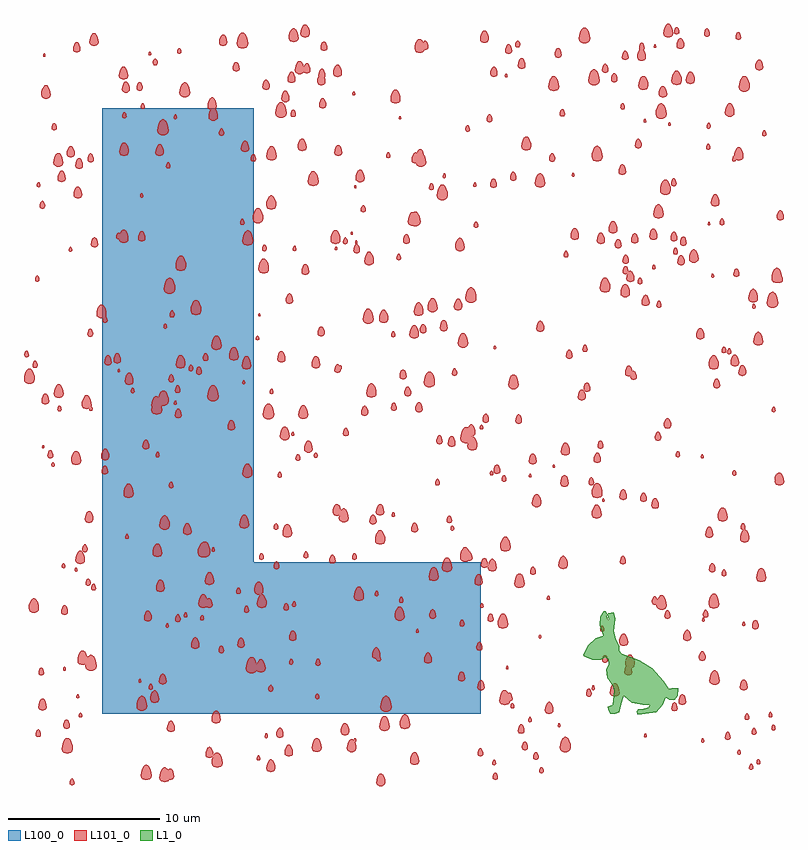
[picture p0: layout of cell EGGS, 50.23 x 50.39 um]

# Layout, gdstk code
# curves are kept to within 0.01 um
from math import pi, radians
import gdstk
lib = gdstk.Library(unit=1e-6, precision=1e-09)
def P(c, l, *ps):  # polygons
    for p in ps: c.add(gdstk.Polygon(p, *l))
L1_0 = (1, 0)
L100_0 = (100, 0)
L101_0 = (101, 0)

egg = lib.new_cell('EGG')
P(egg, L101_0, [(0,-0.2),(-0.11,-0.19),(-0.25,-0.14),(-0.35,-0.03),(-0.38,0.11),(-0.36,0.34),(-0.28,0.6),(-0.19,0.76),(-0.09,0.85),(-0.04,0.86),(0.09,0.85),(0.19,0.76),(0.28,0.6),(0.36,0.34),(0.38,0.11),(0.35,-0.03),(0.25,-0.14),(0.11,-0.19)])

bunny = lib.new_cell('BUNNY')
P(bunny, L1_0, [(-0.22,-0.01),(-0.54,0.03),(-0.68,0.19),(-0.75,0.36),(-0.82,0.302),(-0.94,0.31),(-1.01,0.39),(-1.02,0.56),(-0.81,0.55),(-0.7,0.71),(-0.45,1),(-0.16,1.17),(0.22,1.32),(0.28,1.39),(0.28,1.5),(0.35,1.65),(0.4,1.81),(0.36,2.09),(0.4,2.23),(0.52,2.21),(0.55,2.14),(0.5,2.01),(0.52,2.13),(0.57,2.25),(0.62,2.25),(0.7,2.13),(0.71,1.95),(0.63,1.71),(0.8,1.66),(0.97,1.5),(1.07,1.3),(1.06,1.26),(0.87,1.19),(0.69,1.19),(0.59,1.247),(0.52,1.2),(0.51,1.09),(0.561,0.98),(0.54,0.79),(0.41,0.6),(0.39,0.5),(0.42,0.2),(0.53,0.15),(0.52,0.08),(0.48,0),(0.36,0),(0.28,0.03),(0.18,0.39),(0,0.24),(-0.24,0.2),(-0.39,0.2),(-0.37,0.14),(-0.23,0.1),(-0.14,0.1),(-0.11,0.05),(-0.12,-0.01)])

eggs = lib.new_cell('EGGS')
P(eggs, L100_0, [(5,5),(5,45),(15,45),(15,15),(30,15),(30,5)])
eggs.add(gdstk.Reference(egg, (8.557,25.3), magnification=0.803656))
eggs.add(gdstk.Reference(egg, (3.967,25.3), magnification=0.855776))
eggs.add(gdstk.Reference(egg, (24.272,25.126), magnification=0.500635))
eggs.add(gdstk.Reference(egg, (15.992,24.642), magnification=0.983728))
eggs.add(gdstk.Reference(egg, (25.932,25.035), magnification=0.643315))
eggs.add(gdstk.Reference(egg, (9.039,25.532), magnification=0.953622))
eggs.add(gdstk.Reference(egg, (8.601,24.954), magnification=0.960466))
eggs.add(gdstk.Reference(egg, (25.103,36.172), magnification=0.597115))
eggs.add(gdstk.Reference(egg, (24.879,27.218), magnification=0.609921))
eggs.add(gdstk.Reference(egg, (25.002,4.163), magnification=0.91336))
eggs.add(gdstk.Reference(egg, (24.655,11.312), magnification=0.877739))
eggs.add(gdstk.Reference(egg, (41.76,37.894), magnification=0.879936))
eggs.add(gdstk.Reference(egg, (37.496,46.724), magnification=0.987193))
eggs.add(gdstk.Reference(egg, (25.695,37.393), magnification=0.903001))
eggs.add(gdstk.Reference(egg, (25.511,37.412), magnification=0.846944))
eggs.add(gdstk.Reference(egg, (49.815,37.723), magnification=0.620533))
eggs.add(gdstk.Reference(egg, (37.706,41.687), magnification=0.965078))
eggs.add(gdstk.Reference(egg, (40.867,44.107), magnification=0.233672))
eggs.add(gdstk.Reference(egg, (40.659,48.927), magnification=0.48673))
eggs.add(gdstk.Reference(egg, (46.466,44.621), magnification=0.831018))
eggs.add(gdstk.Reference(egg, (39.393,45.005), magnification=0.391527))
eggs.add(gdstk.Reference(egg, (41.531,49.038), magnification=0.224346))
eggs.add(gdstk.Reference(egg, (42.48,43.897), magnification=0.222827))
eggs.add(gdstk.Reference(egg, (47.065,41.716), magnification=0.826704))
eggs.add(gdstk.Reference(egg, (42.959,46.72), magnification=0.900498))
eggs.add(gdstk.Reference(egg, (42.222,39.477), magnification=0.937625))
eggs.add(gdstk.Reference(egg, (40.424,42.467), magnification=0.597273))
eggs.add(gdstk.Reference(egg, (45.511,38.685), magnification=0.737905))
eggs.add(gdstk.Reference(egg, (42.051,45.858), magnification=0.719706))
eggs.add(gdstk.Reference(egg, (45.043,42.352), magnification=0.366893))
eggs.add(gdstk.Reference(egg, (48.419,47.636), magnification=0.688754))
eggs.add(gdstk.Reference(egg, (38.834,46.846), magnification=0.553106))
eggs.add(gdstk.Reference(egg, (46.746,41.554), magnification=0.330409))
eggs.add(gdstk.Reference(egg, (41.933,44.508), magnification=0.958556))
eggs.add(gdstk.Reference(egg, (48.754,43.234), magnification=0.390954))
eggs.add(gdstk.Reference(egg, (47.433,46.296), magnification=0.972457))
eggs.add(gdstk.Reference(egg, (38.238,47.459), magnification=0.557754))
eggs.add(gdstk.Reference(egg, (40.763,46.393), magnification=0.857804))
eggs.add(gdstk.Reference(egg, (47.04,49.625), magnification=0.479842))
eggs.add(gdstk.Reference(egg, (39.369,40.736), magnification=0.648825))
eggs.add(gdstk.Reference(egg, (40.646,48.304), magnification=0.756028))
eggs.add(gdstk.Reference(egg, (42.775,39.958), magnification=0.485918))
eggs.add(gdstk.Reference(egg, (39.56,48.314), magnification=0.577475))
eggs.add(gdstk.Reference(egg, (43.867,46.761), magnification=0.77437))
eggs.add(gdstk.Reference(egg, (42.408,49.868), magnification=0.83842))
eggs.add(gdstk.Reference(egg, (45.072,43.732), magnification=0.356374))
eggs.add(gdstk.Reference(egg, (44.966,49.838), magnification=0.515257))
eggs.add(gdstk.Reference(egg, (42.963,49.984), magnification=0.450648))
eggs.add(gdstk.Reference(egg, (43.211,49.068), magnification=0.6715))
eggs.add(gdstk.Reference(egg, (34.838,46.332), magnification=0.918333))
eggs.add(gdstk.Reference(egg, (35.413,44.559), magnification=0.461488))
eggs.add(gdstk.Reference(egg, (34.737,41.572), magnification=0.526732))
eggs.add(gdstk.Reference(egg, (35.133,48.47), magnification=0.602447))
eggs.add(gdstk.Reference(egg, (30.594,44.183), magnification=0.499595))
eggs.add(gdstk.Reference(egg, (26.055,41.321), magnification=0.90441))
eggs.add(gdstk.Reference(egg, (31.699,47.105), magnification=0.22813))
eggs.add(gdstk.Reference(egg, (27.473,39.119), magnification=0.972821))
eggs.add(gdstk.Reference(egg, (30.261,49.483), magnification=0.7537))
eggs.add(gdstk.Reference(egg, (26.342,48.987), magnification=0.552319))
eggs.add(gdstk.Reference(egg, (25.973,48.847), magnification=0.859568))
eggs.add(gdstk.Reference(egg, (31.855,48.725), magnification=0.594764))
eggs.add(gdstk.Reference(egg, (26.004,41.698), magnification=0.705861))
eggs.add(gdstk.Reference(egg, (30.856,39.865), magnification=0.578694))
eggs.add(gdstk.Reference(egg, (27.607,40.453), magnification=0.287458))
eggs.add(gdstk.Reference(egg, (29.15,43.53), magnification=0.407969))
eggs.add(gdstk.Reference(egg, (32.16,40.323), magnification=0.558544))
eggs.add(gdstk.Reference(egg, (32.458,49.117), magnification=0.423588))
eggs.add(gdstk.Reference(egg, (29.628,39.863), magnification=0.287193))
eggs.add(gdstk.Reference(egg, (26.753,39.687), magnification=0.422841))
eggs.add(gdstk.Reference(egg, (25.703,41.5), magnification=0.684105))
eggs.add(gdstk.Reference(egg, (32.716,47.746), magnification=0.658823))
eggs.add(gdstk.Reference(egg, (30.883,47.214), magnification=0.625606))
eggs.add(gdstk.Reference(egg, (33.028,42.394), magnification=0.855742))
eggs.add(gdstk.Reference(egg, (33.933,39.944), magnification=0.884893))
eggs.add(gdstk.Reference(egg, (36.119,40.541), magnification=0.244409))
eggs.add(gdstk.Reference(egg, (36.872,49.504), magnification=0.965112))
eggs.add(gdstk.Reference(egg, (37.035,26.376), magnification=0.58728))
eggs.add(gdstk.Reference(egg, (36.902,28.993), magnification=0.448429))
eggs.add(gdstk.Reference(egg, (35.652,35.231), magnification=0.40712))
eggs.add(gdstk.Reference(egg, (28.518,31.801), magnification=0.719456))
eggs.add(gdstk.Reference(egg, (30.941,29.132), magnification=0.225659))
eggs.add(gdstk.Reference(egg, (32.178,26.622), magnification=0.909688))
eggs.add(gdstk.Reference(egg, (25.189,26.084), magnification=0.607852))
eggs.add(gdstk.Reference(egg, (26.618,26.759), magnification=0.979761))
eggs.add(gdstk.Reference(egg, (25.616,29.954), magnification=0.822873))
eggs.add(gdstk.Reference(egg, (27.572,30.411), magnification=0.678135))
eggs.add(gdstk.Reference(egg, (26.203,30.243), magnification=0.577049))
eggs.add(gdstk.Reference(egg, (29.702,37.188), magnification=0.389889))
eggs.add(gdstk.Reference(egg, (29.369,32.346), magnification=0.957899))
eggs.add(gdstk.Reference(egg, (28.844,29.363), magnification=0.896435))
eggs.add(gdstk.Reference(egg, (33.948,30.36), magnification=0.69164))
eggs.add(gdstk.Reference(egg, (25.905,31.455), magnification=0.837801))
eggs.add(gdstk.Reference(egg, (28.636,35.731), magnification=0.822659))
eggs.add(gdstk.Reference(egg, (26.827,31.705), magnification=0.869572))
eggs.add(gdstk.Reference(egg, (28.281,27.423), magnification=0.463744))
eggs.add(gdstk.Reference(egg, (36.693,25.828), magnification=0.680035))
eggs.add(gdstk.Reference(egg, (35.863,28.554), magnification=0.583922))
eggs.add(gdstk.Reference(egg, (36.229,36.461), magnification=0.730377))
eggs.add(gdstk.Reference(egg, (43.405,36.036), magnification=0.576824))
eggs.add(gdstk.Reference(egg, (37.958,36.175), magnification=0.700188))
eggs.add(gdstk.Reference(egg, (45.346,33.865), magnification=0.25449))
eggs.add(gdstk.Reference(egg, (45.097,37.319), magnification=0.201626))
eggs.add(gdstk.Reference(egg, (41.453,34.418), magnification=0.298164))
eggs.add(gdstk.Reference(egg, (40.96,32.049), magnification=0.211219))
eggs.add(gdstk.Reference(egg, (49.587,33.653), magnification=0.929153))
eggs.add(gdstk.Reference(egg, (45.959,37.367), magnification=0.414538))
eggs.add(gdstk.Reference(egg, (48.065,31.819), magnification=0.306605))
eggs.add(gdstk.Reference(egg, (39.905,33.662), magnification=0.692313))
eggs.add(gdstk.Reference(egg, (49.304,32.023), magnification=0.984963))
eggs.add(gdstk.Reference(egg, (45.412,27.928), magnification=0.87935))
eggs.add(gdstk.Reference(egg, (44.524,29.864), magnification=0.70921))
eggs.add(gdstk.Reference(egg, (42.783,36.343), magnification=0.585601))
eggs.add(gdstk.Reference(egg, (39.567,32.687), magnification=0.819378))
eggs.add(gdstk.Reference(egg, (42.889,35.427), magnification=0.418628))
eggs.add(gdstk.Reference(egg, (46.911,33.969), magnification=0.512906))
eggs.add(gdstk.Reference(egg, (39.098,35.86), magnification=0.587542))
eggs.add(gdstk.Reference(egg, (38.754,36.898), magnification=0.763716))
eggs.add(gdstk.Reference(egg, (44.094,34.965), magnification=0.830468))
eggs.add(gdstk.Reference(egg, (39.801,27.429), magnification=0.643873))
eggs.add(gdstk.Reference(egg, (43.255,34.747), magnification=0.63481))
eggs.add(gdstk.Reference(egg, (41.422,36.459), magnification=0.700745))
eggs.add(gdstk.Reference(egg, (40.19,36.198), magnification=0.622227))
eggs.add(gdstk.Reference(egg, (38.229,33.02), magnification=0.92325))
eggs.add(gdstk.Reference(egg, (40.908,32.082), magnification=0.684671))
eggs.add(gdstk.Reference(egg, (48.36,29.499), magnification=0.847418))
eggs.add(gdstk.Reference(egg, (40.115,27.171), magnification=0.552186))
eggs.add(gdstk.Reference(egg, (46.809,28.101), magnification=0.73466))
eggs.add(gdstk.Reference(egg, (40.54,33.468), magnification=0.407609))
eggs.add(gdstk.Reference(egg, (39.593,34.842), magnification=0.556826))
eggs.add(gdstk.Reference(egg, (39.589,34.141), magnification=0.505253))
eggs.add(gdstk.Reference(egg, (46.43,28.825), magnification=0.380234))
eggs.add(gdstk.Reference(egg, (48.022,32.35), magnification=0.831397))
eggs.add(gdstk.Reference(egg, (47.305,27.442), magnification=0.67484))
eggs.add(gdstk.Reference(egg, (49.762,33.59), magnification=0.575251))
eggs.add(gdstk.Reference(egg, (41.791,31.914), magnification=0.443401))
eggs.add(gdstk.Reference(egg, (46.086,28.911), magnification=0.404443))
eggs.add(gdstk.Reference(egg, (45.608,26.619), magnification=0.596848))
eggs.add(gdstk.Reference(egg, (15.289,37.596), magnification=0.930551))
eggs.add(gdstk.Reference(egg, (12.336,44.347), magnification=0.808832))
eggs.add(gdstk.Reference(egg, (12.262,45.043), magnification=0.789682))
eggs.add(gdstk.Reference(egg, (12.316,25.844), magnification=0.992759))
eggs.add(gdstk.Reference(egg, (12.545,29.203), magnification=0.897723))
eggs.add(gdstk.Reference(egg, (21.625,45.907), magnification=0.246132))
eggs.add(gdstk.Reference(egg, (16.169,38.489), magnification=0.877767))
eggs.add(gdstk.Reference(egg, (14.434,42.261), magnification=0.701113))
eggs.add(gdstk.Reference(egg, (14.269,49.155), magnification=0.977765))
eggs.add(gdstk.Reference(egg, (14.989,41.584), magnification=0.464209))
eggs.add(gdstk.Reference(egg, (13.848,47.555), magnification=0.592752))
eggs.add(gdstk.Reference(egg, (12.985,49.286), magnification=0.689763))
eggs.add(gdstk.Reference(egg, (12.879,43.274), magnification=0.46451))
eggs.add(gdstk.Reference(egg, (24.379,45.498), magnification=0.864535))
eggs.add(gdstk.Reference(egg, (15.828,46.354), magnification=0.636473))
eggs.add(gdstk.Reference(egg, (17.645,49.554), magnification=0.853623))
eggs.add(gdstk.Reference(egg, (20.598,41.992), magnification=0.672513))
eggs.add(gdstk.Reference(egg, (18.521,47.441), magnification=0.623336))
eggs.add(gdstk.Reference(egg, (16.814,44.571), magnification=0.98964))
eggs.add(gdstk.Reference(egg, (16.188,41.741), magnification=0.885081))
eggs.add(gdstk.Reference(egg, (17.102,45.557), magnification=0.710383))
eggs.add(gdstk.Reference(egg, (19.513,47.102), magnification=0.604477))
eggs.add(gdstk.Reference(egg, (18.942,40.055), magnification=0.928823))
eggs.add(gdstk.Reference(egg, (22.249,38.216), magnification=0.436896))
eggs.add(gdstk.Reference(egg, (18.405,49.847), magnification=0.809035))
eggs.add(gdstk.Reference(egg, (19.568,45.142), magnification=0.611092))
eggs.add(gdstk.Reference(egg, (19.653,48.913), magnification=0.590585))
eggs.add(gdstk.Reference(egg, (19.475,46.675), magnification=0.70412))
eggs.add(gdstk.Reference(egg, (18.209,42.336), magnification=0.779017))
eggs.add(gdstk.Reference(egg, (24.679,44.314), magnification=0.201659))
eggs.add(gdstk.Reference(egg, (17.621,44.527), magnification=0.461509))
eggs.add(gdstk.Reference(egg, (21.724,39.75), magnification=0.20458))
eggs.add(gdstk.Reference(egg, (18.04,47.42), magnification=0.807718))
eggs.add(gdstk.Reference(egg, (22.043,40.281), magnification=0.78357))
eggs.add(gdstk.Reference(egg, (20.552,47.221), magnification=0.763799))
eggs.add(gdstk.Reference(egg, (17.507,46.824), magnification=0.692687))
eggs.add(gdstk.Reference(egg, (23.904,41.789), magnification=0.349459))
eggs.add(gdstk.Reference(egg, (3.385,39.202), magnification=0.738897))
eggs.add(gdstk.Reference(egg, (1.275,45.811), magnification=0.831491))
eggs.add(gdstk.Reference(egg, (2.915,41.894), magnification=0.692792))
eggs.add(gdstk.Reference(egg, (7.601,39.158), magnification=0.281965))
eggs.add(gdstk.Reference(egg, (7.683,45.039), magnification=0.363342))
eggs.add(gdstk.Reference(egg, (6.461,44.42), magnification=0.383776))
eggs.add(gdstk.Reference(egg, (7.467,46.27), magnification=0.539015))
eggs.add(gdstk.Reference(egg, (6.561,46.18), magnification=0.682988))
eggs.add(gdstk.Reference(egg, (8.789,42.001), magnification=0.729273))
eggs.add(gdstk.Reference(egg, (2.313,40.274), magnification=0.702128))
eggs.add(gdstk.Reference(egg, (4.452,49.283), magnification=0.789957))
eggs.add(gdstk.Reference(egg, (4.232,41.548), magnification=0.549308))
eggs.add(gdstk.Reference(egg, (8.5,47.926), magnification=0.419593))
eggs.add(gdstk.Reference(egg, (3.471,41.143), magnification=0.661175))
eggs.add(gdstk.Reference(egg, (10.084,48.692), magnification=0.345563))
eggs.add(gdstk.Reference(egg, (6.439,42.031), magnification=0.83112))
eggs.add(gdstk.Reference(egg, (6.406,47.065), magnification=0.79407))
eggs.add(gdstk.Reference(egg, (0.792,39.854), magnification=0.32256))
eggs.add(gdstk.Reference(egg, (9.016,43.422), magnification=0.992221))
eggs.add(gdstk.Reference(egg, (9.829,44.347), magnification=0.291561))
eggs.add(gdstk.Reference(egg, (3.314,48.832), magnification=0.629655))
eggs.add(gdstk.Reference(egg, (1.044,38.469), magnification=0.477359))
eggs.add(gdstk.Reference(egg, (1.167,48.457), magnification=0.209341))
eggs.add(gdstk.Reference(egg, (2.096,41.314), magnification=0.851023))
eggs.add(gdstk.Reference(egg, (8.139,48.556), magnification=0.232895))
eggs.add(gdstk.Reference(egg, (10.453,45.923), magnification=0.919797))
eggs.add(gdstk.Reference(egg, (1.823,43.649), magnification=0.443454))
eggs.add(gdstk.Reference(egg, (9.352,41.114), magnification=0.383971))
eggs.add(gdstk.Reference(egg, (11.827,28.405), magnification=0.484885))
eggs.add(gdstk.Reference(egg, (4.488,35.941), magnification=0.616001))
eggs.add(gdstk.Reference(egg, (9.824,25.469), magnification=0.258473))
eggs.add(gdstk.Reference(egg, (9.616,31.27), magnification=0.442644))
eggs.add(gdstk.Reference(egg, (9.559,27.002), magnification=0.482513))
eggs.add(gdstk.Reference(egg, (1.24,25.573), magnification=0.659332))
eggs.add(gdstk.Reference(egg, (9.161,30.501), magnification=0.308088))
eggs.add(gdstk.Reference(egg, (10.171,27.978), magnification=0.827719))
eggs.add(gdstk.Reference(egg, (4.95,31.303), magnification=0.854742))
eggs.add(gdstk.Reference(egg, (0.559,27.932), magnification=0.447084))
eggs.add(gdstk.Reference(egg, (6.076,36.439), magnification=0.396199))
eggs.add(gdstk.Reference(egg, (11.387,27.497), magnification=0.500646))
eggs.add(gdstk.Reference(egg, (9.981,26.286), magnification=0.479831))
eggs.add(gdstk.Reference(egg, (5.378,28.137), magnification=0.638517))
eggs.add(gdstk.Reference(egg, (4.206,30.012), magnification=0.505615))
eggs.add(gdstk.Reference(egg, (7.609,36.342), magnification=0.634005))
eggs.add(gdstk.Reference(egg, (6.094,27.612), magnification=0.207032))
eggs.add(gdstk.Reference(egg, (5.185,30.912), magnification=0.43784))
eggs.add(gdstk.Reference(egg, (0.003,28.627), magnification=0.408822))
eggs.add(gdstk.Reference(egg, (7.01,26.248), magnification=0.318012))
eggs.add(gdstk.Reference(egg, (9.453,32.94), magnification=0.995917))
eggs.add(gdstk.Reference(egg, (5.989,28.265), magnification=0.63105))
eggs.add(gdstk.Reference(egg, (2.121,26.038), magnification=0.846423))
eggs.add(gdstk.Reference(egg, (2.898,35.59), magnification=0.297207))
eggs.add(gdstk.Reference(egg, (11.193,31.527), magnification=0.935224))
eggs.add(gdstk.Reference(egg, (6.418,36.278), magnification=0.82379))
eggs.add(gdstk.Reference(egg, (0.187,26.986), magnification=0.949354))
eggs.add(gdstk.Reference(egg, (10.198,34.448), magnification=0.94092))
eggs.add(gdstk.Reference(egg, (6.777,26.885), magnification=0.750463))
eggs.add(gdstk.Reference(egg, (0.702,33.627), magnification=0.383723))
eggs.add(gdstk.Reference(egg, (10.859,27.714), magnification=0.3846))
eggs.add(gdstk.Reference(egg, (14.261,37.377), magnification=0.375201))
eggs.add(gdstk.Reference(egg, (18.419,34.14), magnification=0.651575))
eggs.add(gdstk.Reference(egg, (13.7,28.499), magnification=0.83964))
eggs.add(gdstk.Reference(egg, (14.618,36.119), magnification=0.950917))
eggs.add(gdstk.Reference(egg, (21.812,35.529), magnification=0.574378))
eggs.add(gdstk.Reference(egg, (15.258,29.734), magnification=0.289949))
eggs.add(gdstk.Reference(egg, (20.549,27.626), magnification=0.528943))
eggs.add(gdstk.Reference(egg, (20.745,27.805), magnification=0.240513))
eggs.add(gdstk.Reference(egg, (22.577,30.958), magnification=0.925492))
eggs.add(gdstk.Reference(egg, (23.598,30.99), magnification=0.807561))
eggs.add(gdstk.Reference(egg, (20.455,35.679), magnification=0.217659))
eggs.add(gdstk.Reference(egg, (22.783,26.064), magnification=0.88583))
eggs.add(gdstk.Reference(egg, (22.636,34.806), magnification=0.828685))
eggs.add(gdstk.Reference(egg, (17.369,32.214), magnification=0.643086))
eggs.add(gdstk.Reference(egg, (14.531,27.915), magnification=0.822632))
eggs.add(gdstk.Reference(egg, (24.228,29.96), magnification=0.365592))
eggs.add(gdstk.Reference(egg, (15.711,35.639), magnification=0.406459))
eggs.add(gdstk.Reference(egg, (21.062,36.113), magnification=0.412395))
eggs.add(gdstk.Reference(egg, (16.188,26.19), magnification=0.333205))
eggs.add(gdstk.Reference(egg, (21.786,36.1), magnification=0.212247))
eggs.add(gdstk.Reference(egg, (19.468,30.056), magnification=0.609842))
eggs.add(gdstk.Reference(egg, (20.414,36.207), magnification=0.867962))
eggs.add(gdstk.Reference(egg, (16.837,28.356), magnification=0.696402))
eggs.add(gdstk.Reference(egg, (17.709,35.638), magnification=0.326604))
eggs.add(gdstk.Reference(egg, (19.118,27.978), magnification=0.738846))
eggs.add(gdstk.Reference(egg, (14.35,26.827), magnification=0.254931))
eggs.add(gdstk.Reference(egg, (21.492,36.678), magnification=0.20527))
eggs.add(gdstk.Reference(egg, (15.382,31.287), magnification=0.204664))
eggs.add(gdstk.Reference(egg, (15.67,34.281), magnification=0.909634))
eggs.add(gdstk.Reference(egg, (24.592,35.053), magnification=0.399794))
eggs.add(gdstk.Reference(egg, (11.673,12.153), magnification=0.854404))
eggs.add(gdstk.Reference(egg, (15.545,12.15), magnification=0.858769))
eggs.add(gdstk.Reference(egg, (12.082,13.652), magnification=0.795418))
eggs.add(gdstk.Reference(egg, (12.337,15.754), magnification=0.285407))
eggs.add(gdstk.Reference(egg, (12.588,1.618), magnification=0.941717))
eggs.add(gdstk.Reference(egg, (12.526,4.514), magnification=0.790707))
eggs.add(gdstk.Reference(egg, (21.959,12.629), magnification=0.874454))
eggs.add(gdstk.Reference(egg, (23.133,12.823), magnification=0.337921))
eggs.add(gdstk.Reference(egg, (16.731,20.668), magnification=0.371668))
eggs.add(gdstk.Reference(egg, (23.358,18.24), magnification=0.705212))
eggs.add(gdstk.Reference(egg, (17.229,16.817), magnification=0.816405))
eggs.add(gdstk.Reference(egg, (18.283,24.648), magnification=0.848693))
eggs.add(gdstk.Reference(egg, (20.961,17.819), magnification=0.860958))
eggs.add(gdstk.Reference(egg, (17.93,21.789), magnification=0.421809))
eggs.add(gdstk.Reference(egg, (20.209,15.03), magnification=0.546078))
eggs.add(gdstk.Reference(egg, (23.369,16.357), magnification=0.891869))
eggs.add(gdstk.Reference(egg, (17.597,23.41), magnification=0.256368))
eggs.add(gdstk.Reference(egg, (21.666,15.256), magnification=0.404147))
eggs.add(gdstk.Reference(egg, (22.892,17.621), magnification=0.621266))
eggs.add(gdstk.Reference(egg, (19.109,21.965), magnification=0.3238))
eggs.add(gdstk.Reference(egg, (21.098,23.448), magnification=0.502071))
eggs.add(gdstk.Reference(egg, (20.508,18.22), magnification=0.734045))
eggs.add(gdstk.Reference(egg, (22.34,24.801), magnification=0.620988))
eggs.add(gdstk.Reference(egg, (15.52,15.256), magnification=0.395029))
eggs.add(gdstk.Reference(egg, (15.344,13.019), magnification=0.802925))
eggs.add(gdstk.Reference(egg, (16.484,17.235), magnification=0.387062))
eggs.add(gdstk.Reference(egg, (13.525,23.844), magnification=0.65055))
eggs.add(gdstk.Reference(egg, (14.001,12.987), magnification=0.397605))
eggs.add(gdstk.Reference(egg, (14.38,17.404), magnification=0.857584))
eggs.add(gdstk.Reference(egg, (16.517,14.639), magnification=0.486833))
eggs.add(gdstk.Reference(egg, (14.593,20.764), magnification=0.875027))
eggs.add(gdstk.Reference(egg, (17.064,23.243), magnification=0.85075))
eggs.add(gdstk.Reference(egg, (18.453,15.36), magnification=0.421876))
eggs.add(gdstk.Reference(egg, (18.622,22.396), magnification=0.753244))
eggs.add(gdstk.Reference(egg, (24.237,18.058), magnification=0.293224))
eggs.add(gdstk.Reference(egg, (6.632,16.608), magnification=0.320483))
eggs.add(gdstk.Reference(egg, (6.736,19.436), magnification=0.872754))
eggs.add(gdstk.Reference(egg, (8.838,13.199), magnification=0.753787))
eggs.add(gdstk.Reference(egg, (3.267,14.436), magnification=0.25074))
eggs.add(gdstk.Reference(egg, (10.622,16.946), magnification=0.735626))
eggs.add(gdstk.Reference(egg, (7.88,22.58), magnification=0.61585))
eggs.add(gdstk.Reference(egg, (8.643,15.52), magnification=0.831035))
eggs.add(gdstk.Reference(egg, (10.019,24.651), magnification=0.581919))
eggs.add(gdstk.Reference(egg, (11.65,15.518), magnification=0.908862))
eggs.add(gdstk.Reference(egg, (4.069,13.542), magnification=0.431193))
eggs.add(gdstk.Reference(egg, (3.852,15.764), magnification=0.485816))
eggs.add(gdstk.Reference(egg, (1.746,21.376), magnification=0.285125))
eggs.add(gdstk.Reference(egg, (2.171,25.046), magnification=0.360369))
eggs.add(gdstk.Reference(egg, (4.247,25.069), magnification=0.296328))
eggs.add(gdstk.Reference(egg, (2.44,14.675), magnification=0.299569))
eggs.add(gdstk.Reference(egg, (1.565,21.976), magnification=0.513844))
eggs.add(gdstk.Reference(egg, (5.173,20.917), magnification=0.555743))
eggs.add(gdstk.Reference(egg, (8.653,22.007), magnification=0.344866))
eggs.add(gdstk.Reference(egg, (1.095,22.567), magnification=0.208135))
eggs.add(gdstk.Reference(egg, (9.122,17.329), magnification=0.895737))
eggs.add(gdstk.Reference(egg, (5.193,21.891), magnification=0.712658))
eggs.add(gdstk.Reference(egg, (3.537,15.046), magnification=0.826432))
eggs.add(gdstk.Reference(egg, (9.555,19.97), magnification=0.40539))
eggs.add(gdstk.Reference(egg, (11.77,15.534), magnification=0.976064))
eggs.add(gdstk.Reference(egg, (3.271,21.609), magnification=0.859115))
eggs.add(gdstk.Reference(egg, (4.432,13.221), magnification=0.419891))
eggs.add(gdstk.Reference(egg, (4.127,17.764), magnification=0.724801))
eggs.add(gdstk.Reference(egg, (3.38,6.068), magnification=0.254681))
eggs.add(gdstk.Reference(egg, (2.505,7.875), magnification=0.251747))
eggs.add(gdstk.Reference(egg, (9.539,3.929), magnification=0.690608))
eggs.add(gdstk.Reference(egg, (11.143,9.418), magnification=0.718497))
eggs.add(gdstk.Reference(egg, (8.014,11.229), magnification=0.673271))
eggs.add(gdstk.Reference(egg, (1.05,5.348), magnification=0.72636))
eggs.add(gdstk.Reference(egg, (3.702,8.394), magnification=0.892649))
eggs.add(gdstk.Reference(egg, (0.477,11.85), magnification=0.891031))
eggs.add(gdstk.Reference(egg, (3.561,4.81), magnification=0.29008))
eggs.add(gdstk.Reference(egg, (9.997,11.148), magnification=0.48101))
eggs.add(gdstk.Reference(egg, (8.999,7.053), magnification=0.662356))
eggs.add(gdstk.Reference(egg, (12.058,12.105), magnification=0.613172))
eggs.add(gdstk.Reference(egg, (12.083,2.211), magnification=0.680246))
eggs.add(gdstk.Reference(egg, (2.639,4.114), magnification=0.57534))
eggs.add(gdstk.Reference(egg, (11.596,11.225), magnification=0.338413))
eggs.add(gdstk.Reference(egg, (9.483,0.765), magnification=0.682664))
eggs.add(gdstk.Reference(egg, (8.461,5.867), magnification=0.771286))
eggs.add(gdstk.Reference(egg, (7.485,7.093), magnification=0.234893))
eggs.add(gdstk.Reference(egg, (7.905,0.804), magnification=0.935819))
eggs.add(gdstk.Reference(egg, (0.772,3.551), magnification=0.466025))
eggs.add(gdstk.Reference(egg, (3.008,0.352), magnification=0.418097))
eggs.add(gdstk.Reference(egg, (9.123,0.657), magnification=0.911338))
eggs.add(gdstk.Reference(egg, (7.618,5.371), magnification=0.929018))
eggs.add(gdstk.Reference(egg, (9.299,10.736), magnification=0.268855))
eggs.add(gdstk.Reference(egg, (2.689,2.554), magnification=0.967316))
eggs.add(gdstk.Reference(egg, (2.509,11.657), magnification=0.590392))
eggs.add(gdstk.Reference(egg, (0.969,7.628), magnification=0.476826))
eggs.add(gdstk.Reference(egg, (4.247,8.023), magnification=0.994105))
eggs.add(gdstk.Reference(egg, (10.511,11.415), magnification=0.312139))
eggs.add(gdstk.Reference(egg, (8.198,6.661), magnification=0.366263))
eggs.add(gdstk.Reference(egg, (14.538,11.745), magnification=0.440294))
eggs.add(gdstk.Reference(egg, (16.136,6.533), magnification=0.418406))
eggs.add(gdstk.Reference(egg, (14.872,7.864), magnification=0.99909))
eggs.add(gdstk.Reference(egg, (15.483,7.893), magnification=0.805469))
eggs.add(gdstk.Reference(egg, (12.868,9.091), magnification=0.466872))
eggs.add(gdstk.Reference(egg, (15.323,1.969), magnification=0.319698))
eggs.add(gdstk.Reference(egg, (15.838,3.44), magnification=0.293406))
eggs.add(gdstk.Reference(egg, (23.111,8.753), magnification=0.719866))
eggs.add(gdstk.Reference(egg, (17.48,8.311), magnification=0.349871))
eggs.add(gdstk.Reference(egg, (19.217,6.025), magnification=0.347205))
eggs.add(gdstk.Reference(egg, (23.407,0.36), magnification=0.780404))
eggs.add(gdstk.Reference(egg, (19.169,2.645), magnification=0.849828))
eggs.add(gdstk.Reference(egg, (21.704,3.177), magnification=0.239323))
eggs.add(gdstk.Reference(egg, (17.593,9.938), magnification=0.633928))
eggs.add(gdstk.Reference(egg, (17.152,11.905), magnification=0.468931))
eggs.add(gdstk.Reference(egg, (19.256,8.252), magnification=0.448662))
eggs.add(gdstk.Reference(egg, (17.327,2.317), magnification=0.7225))
eggs.add(gdstk.Reference(egg, (24.761,12.393), magnification=0.37546))
eggs.add(gdstk.Reference(egg, (17.674,12.126), magnification=0.357769))
eggs.add(gdstk.Reference(egg, (23.653,4.031), magnification=0.915154))
eggs.add(gdstk.Reference(egg, (21.48,2.612), magnification=0.81301))
eggs.add(gdstk.Reference(egg, (16.14,1.294), magnification=0.783513))
eggs.add(gdstk.Reference(egg, (23.272,8.525), magnification=0.396493))
eggs.add(gdstk.Reference(egg, (16.738,3.532), magnification=0.6232))
eggs.add(gdstk.Reference(egg, (23.747,5.315), magnification=0.990152))
eggs.add(gdstk.Reference(egg, (21.04,3.714), magnification=0.748925))
eggs.add(gdstk.Reference(egg, (14.173,9.465), magnification=0.627675))
eggs.add(gdstk.Reference(egg, (37.45,6.61), magnification=0.291916))
eggs.add(gdstk.Reference(egg, (34.489,12.565), magnification=0.276754))
eggs.add(gdstk.Reference(egg, (37.319,20.194), magnification=0.481727))
eggs.add(gdstk.Reference(egg, (37.719,21.696), magnification=0.629929))
eggs.add(gdstk.Reference(egg, (45.423,12.123), magnification=0.922396))
eggs.add(gdstk.Reference(egg, (37.699,19.432), magnification=0.939953))
eggs.add(gdstk.Reference(egg, (37.676,18.062), magnification=0.863735))
eggs.add(gdstk.Reference(egg, (41.968,12.046), magnification=0.896617))
eggs.add(gdstk.Reference(bunny, (40,5), rotation=pi, magnification=3, x_reflection=True))
eggs.add(gdstk.Reference(egg, (46.088,14.168), magnification=0.41746))
eggs.add(gdstk.Reference(egg, (45.116,16.756), magnification=0.684229))
eggs.add(gdstk.Reference(egg, (39.41,14.968), magnification=0.522508))
eggs.add(gdstk.Reference(egg, (49.368,24.988), magnification=0.342641))
eggs.add(gdstk.Reference(egg, (39.426,19.246), magnification=0.661346))
eggs.add(gdstk.Reference(egg, (47.46,16.466), magnification=0.79861))
eggs.add(gdstk.Reference(egg, (41.539,18.679), magnification=0.645636))
eggs.add(gdstk.Reference(egg, (40.769,19.103), magnification=0.575747))
eggs.add(gdstk.Reference(egg, (46.002,17.867), magnification=0.872179))
eggs.add(gdstk.Reference(egg, (43.046,22.024), magnification=0.380515))
eggs.add(gdstk.Reference(egg, (42.357,23.968), magnification=0.655823))
eggs.add(gdstk.Reference(egg, (41.729,23.146), magnification=0.551146))
eggs.add(gdstk.Reference(egg, (47.348,17.243), magnification=0.400947))
eggs.add(gdstk.Reference(egg, (45.311,14.452), magnification=0.571926))
eggs.add(gdstk.Reference(egg, (38.119,19.039), magnification=0.211741))
eggs.add(gdstk.Reference(egg, (37.923,22.612), magnification=0.505346))
eggs.add(gdstk.Reference(egg, (48.553,13.88), magnification=0.86051))
eggs.add(gdstk.Reference(egg, (44.656,21.927), magnification=0.241051))
eggs.add(gdstk.Reference(egg, (46.776,20.798), magnification=0.343961))
eggs.add(gdstk.Reference(egg, (49.753,20.245), magnification=0.799447))
eggs.add(gdstk.Reference(egg, (49.607,20.457), magnification=0.442927))
eggs.add(gdstk.Reference(egg, (25.643,17.105), magnification=0.599433))
eggs.add(gdstk.Reference(egg, (26.711,13.854), magnification=0.277431))
eggs.add(gdstk.Reference(egg, (34.845,21.284), magnification=0.211649))
eggs.add(gdstk.Reference(egg, (31.084,20.964), magnification=0.58038))
eggs.add(gdstk.Reference(egg, (27.785,14.53), magnification=0.899373))
eggs.add(gdstk.Reference(egg, (30.06,23.844), magnification=0.294984))
eggs.add(gdstk.Reference(egg, (27.154,20.164), magnification=0.398543))
eggs.add(gdstk.Reference(egg, (35.607,22.23), magnification=0.794271))
eggs.add(gdstk.Reference(egg, (29.254,15.203), magnification=0.574195))
eggs.add(gdstk.Reference(egg, (30.729,20.807), magnification=0.293513))
eggs.add(gdstk.Reference(egg, (30.257,14.763), magnification=0.601836))
eggs.add(gdstk.Reference(egg, (29.379,23.478), magnification=0.735372))
eggs.add(gdstk.Reference(egg, (28.987,15.217), magnification=0.90423))
eggs.add(gdstk.Reference(egg, (31.641,15.903), magnification=0.907907))
eggs.add(gdstk.Reference(egg, (28.132,17.152), magnification=0.322654))
eggs.add(gdstk.Reference(egg, (29.871,13.608), magnification=0.708621))
eggs.add(gdstk.Reference(egg, (29.051,23.07), magnification=0.999848))
eggs.add(gdstk.Reference(egg, (33.282,20.656), magnification=0.238523))
eggs.add(gdstk.Reference(egg, (27.284,22.913), magnification=0.551349))
eggs.add(gdstk.Reference(egg, (29.462,22.565), magnification=0.861439))
eggs.add(gdstk.Reference(egg, (32.521,24.278), magnification=0.574777))
eggs.add(gdstk.Reference(egg, (30.346,24.34), magnification=0.550655))
eggs.add(gdstk.Reference(egg, (26.906,13.94), magnification=0.865076))
eggs.add(gdstk.Reference(egg, (31.559,20.408), magnification=0.403093))
eggs.add(gdstk.Reference(egg, (33.463,14.266), magnification=0.501186))
eggs.add(gdstk.Reference(egg, (32.572,13.485), magnification=0.891196))
eggs.add(gdstk.Reference(egg, (33.708,18.807), magnification=0.815514))
eggs.add(gdstk.Reference(egg, (33.455,21.602), magnification=0.668868))
eggs.add(gdstk.Reference(egg, (28.093,22.764), magnification=0.650592))
eggs.add(gdstk.Reference(egg, (27.939,17.689), magnification=0.469681))
eggs.add(gdstk.Reference(egg, (35.459,14.719), magnification=0.818917))
eggs.add(gdstk.Reference(egg, (35.549,20.143), magnification=0.727569))
eggs.add(gdstk.Reference(egg, (30.776,14.561), magnification=0.766197))
eggs.add(gdstk.Reference(egg, (32.933,2.685), magnification=0.535497))
eggs.add(gdstk.Reference(egg, (35.606,2.638), magnification=0.952762))
eggs.add(gdstk.Reference(egg, (33.267,4.504), magnification=0.318613))
eggs.add(gdstk.Reference(egg, (33.659,2.037), magnification=0.479492))
eggs.add(gdstk.Reference(egg, (30.901,1.662), magnification=0.335486))
eggs.add(gdstk.Reference(egg, (25.642,1.775), magnification=0.784759))
eggs.add(gdstk.Reference(egg, (29.922,9.277), magnification=0.53513))
eggs.add(gdstk.Reference(egg, (30.98,0.72), magnification=0.4498))
eggs.add(gdstk.Reference(egg, (33.928,10.007), magnification=0.247024))
eggs.add(gdstk.Reference(egg, (30.088,12.046), magnification=0.291341))
eggs.add(gdstk.Reference(egg, (30.03,6.674), magnification=0.63199))
eggs.add(gdstk.Reference(egg, (31.913,5.911), magnification=0.53061))
eggs.add(gdstk.Reference(egg, (31.482,10.802), magnification=0.919482))
eggs.add(gdstk.Reference(egg, (30.661,11.167), magnification=0.521625))
eggs.add(gdstk.Reference(egg, (28.751,7.256), magnification=0.608202))
eggs.add(gdstk.Reference(egg, (34.026,1.13), magnification=0.378552))
eggs.add(gdstk.Reference(egg, (26.835,11.381), magnification=0.584005))
eggs.add(gdstk.Reference(egg, (31.593,5.747), magnification=0.919224))
eggs.add(gdstk.Reference(egg, (28.777,10.842), magnification=0.430564))
eggs.add(gdstk.Reference(egg, (34.537,5.134), magnification=0.741047))
eggs.add(gdstk.Reference(egg, (31.764,7.97), magnification=0.219065))
eggs.add(gdstk.Reference(egg, (32.684,3.796), magnification=0.571456))
eggs.add(gdstk.Reference(egg, (37.161,6.224), magnification=0.49269))
eggs.add(gdstk.Reference(egg, (25.827,10.389), magnification=0.250179))
eggs.add(gdstk.Reference(egg, (26.53,8.455), magnification=0.682767))
eggs.add(gdstk.Reference(egg, (35.193,4.16), magnification=0.248393))
eggs.add(gdstk.Reference(egg, (32.106,5.409), magnification=0.338233))
eggs.add(gdstk.Reference(egg, (29.989,2.28), magnification=0.498709))
eggs.add(gdstk.Reference(egg, (48.361,1.707), magnification=0.327582))
eggs.add(gdstk.Reference(egg, (38.867,6.292), magnification=0.839326))
eggs.add(gdstk.Reference(egg, (45.472,7.082), magnification=0.893324))
eggs.add(gdstk.Reference(egg, (49.16,4.818), magnification=0.335153))
eggs.add(gdstk.Reference(egg, (47.093,2.344), magnification=0.309934))
eggs.add(gdstk.Reference(egg, (44.876,11.448), magnification=0.481725))
eggs.add(gdstk.Reference(egg, (47.882,1.36), magnification=0.369926))
eggs.add(gdstk.Reference(egg, (48.166,10.684), magnification=0.57888))
eggs.add(gdstk.Reference(egg, (48.079,3.685), magnification=0.423416))
eggs.add(gdstk.Reference(egg, (47.396,10.841), magnification=0.267327))
eggs.add(gdstk.Reference(egg, (44.685,3.134), magnification=0.261562))
eggs.add(gdstk.Reference(egg, (41.516,12.296), magnification=0.523887))
eggs.add(gdstk.Reference(egg, (44.731,11.131), magnification=0.250827))
eggs.add(gdstk.Reference(egg, (44.654,8.612), magnification=0.598019))
eggs.add(gdstk.Reference(egg, (38.045,10.488), magnification=0.368641))
eggs.add(gdstk.Reference(egg, (43.655,9.936), magnification=0.688027))
eggs.add(gdstk.Reference(egg, (38.227,8.462), magnification=0.477688))
eggs.add(gdstk.Reference(egg, (39.766,7.658), magnification=0.667285))
eggs.add(gdstk.Reference(egg, (47.61,4.663), magnification=0.401102))
eggs.add(gdstk.Reference(egg, (49.362,3.955), magnification=0.363588))
eggs.add(gdstk.Reference(egg, (39.878,8.17), magnification=0.830165))
eggs.add(gdstk.Reference(egg, (42.819,5.275), magnification=0.536474))
eggs.add(gdstk.Reference(egg, (46.335,3.366), magnification=0.492565))
eggs.add(gdstk.Reference(egg, (40.893,3.481), magnification=0.238519))
eggs.add(gdstk.Reference(egg, (43.338,5.71), magnification=0.646866))
eggs.add(gdstk.Reference(egg, (39.457,9.622), magnification=0.767837))
eggs.add(gdstk.Reference(egg, (42.352,11.369), magnification=0.536182))
eggs.add(gdstk.Reference(egg, (47.393,6.665), magnification=0.672904))

lib.write_gds('EGGS.gds')
